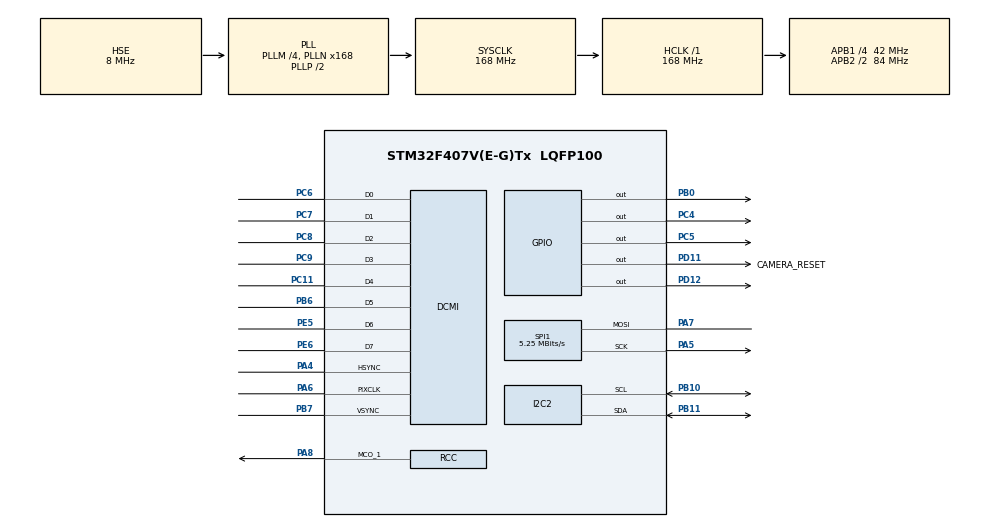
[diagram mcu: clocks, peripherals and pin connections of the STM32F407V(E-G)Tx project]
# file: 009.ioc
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DCMI.PCKPolarity=DCMI_PCKPOLARITY_RISING
DCMI.VSPolarity=DCMI_VSPOLARITY_HIGH
Dma.DCMI.0.Direction=DMA_PERIPH_TO_MEMORY
Dma.DCMI.0.FIFOMode=DMA_FIFOMODE_DISABLE
Dma.DCMI.0.Instance=DMA2_Stream1
Dma.DCMI.0.MemDataAlignment=DMA_MDATAALIGN_WORD
Dma.DCMI.0.MemInc=DMA_MINC_ENABLE
Dma.DCMI.0.Mode=DMA_NORMAL
Dma.DCMI.0.PeriphDataAlignment=DMA_PDATAALIGN_WORD
Dma.DCMI.0.PeriphInc=DMA_PINC_DISABLE
Dma.DCMI.0.Priority=DMA_PRIORITY_LOW
Dma.Request0=DCMI
Mcu.Family=STM32F4
Mcu.Name=STM32F407V(E-G)Tx
Mcu.Package=LQFP100
NVIC.DCMI_IRQn=true\:0\:0\:false\:false\:true\:true\:true\:true
NVIC.DMA2_Stream1_IRQn=true\:0\:0\:false\:false\:true\:false\:true\:true
NVIC.PriorityGroup=NVIC_PRIORITYGROUP_0
PA13.Mode=Serial_Wire
PA13.Signal=SYS_JTMS-SWDIO
PA14.Mode=Serial_Wire
PA14.Signal=SYS_JTCK-SWCLK
PA4.GPIO_PuPd=GPIO_PULLDOWN
PA4.GPIO_Speed=GPIO_SPEED_FREQ_VERY_HIGH
PA4.Mode=Slave_8_bits_External_Synchro
PA4.Signal=DCMI_HSYNC
PA5.Mode=Simplex_Bidirectional_Master
PA5.Signal=SPI1_SCK
PA6.GPIO_PuPd=GPIO_PULLDOWN
PA6.GPIO_Speed=GPIO_SPEED_FREQ_VERY_HIGH
PA6.Mode=Slave_8_bits_External_Synchro
PA6.Signal=DCMI_PIXCLK
PA7.Mode=Simplex_Bidirectional_Master
PA7.Signal=SPI1_MOSI
PA8.GPIO_Speed=GPIO_SPEED_FREQ_VERY_HIGH
PA8.Mode=Clock-out-1
PA8.Signal=RCC_MCO_1
PB0.Signal=GPIO_Output
PB10.GPIO_Pu=GPIO_PULLUP
PB10.Mode=I2C
PB10.Signal=I2C2_SCL
PB11.GPIO_Pu=GPIO_PULLUP
PB11.Mode=I2C
PB11.Signal=I2C2_SDA
PB6.GPIO_PuPd=GPIO_PULLDOWN
PB6.GPIO_Speed=GPIO_SPEED_FREQ_VERY_HIGH
PB6.Mode=Slave_8_bits_External_Synchro
PB6.Signal=DCMI_D5
PB7.GPIO_PuPd=GPIO_PULLDOWN
PB7.GPIO_Speed=GPIO_SPEED_FREQ_VERY_HIGH
PB7.Mode=Slave_8_bits_External_Synchro
PB7.Signal=DCMI_VSYNC
PC11.GPIO_PuPd=GPIO_PULLDOWN
PC11.GPIO_Speed=GPIO_SPEED_FREQ_VERY_HIGH
PC11.Mode=Slave_8_bits_External_Synchro
PC11.Signal=DCMI_D4
PC4.Signal=GPIO_Output
PC5.Signal=GPIO_Output
PC6.GPIO_PuPd=GPIO_PULLDOWN
PC6.GPIO_Speed=GPIO_SPEED_FREQ_VERY_HIGH
PC6.Mode=Slave_8_bits_External_Synchro
PC6.Signal=DCMI_D0
PC7.GPIO_PuPd=GPIO_PULLDOWN
PC7.GPIO_Speed=GPIO_SPEED_FREQ_VERY_HIGH
PC7.Mode=Slave_8_bits_External_Synchro
PC7.Signal=DCMI_D1
PC8.GPIO_PuPd=GPIO_PULLDOWN
PC8.GPIO_Speed=GPIO_SPEED_FREQ_VERY_HIGH
PC8.Mode=Slave_8_bits_External_Synchro
PC8.Signal=DCMI_D2
PC9.GPIO_PuPd=GPIO_PULLDOWN
PC9.GPIO_Speed=GPIO_SPEED_FREQ_VERY_HIGH
PC9.Mode=Slave_8_bits_External_Synchro
PC9.Signal=DCMI_D3
PD11.GPIO_Label=CAMERA_RESET
PD11.Signal=GPIO_Output
PD12.Signal=GPIO_Output
PE5.GPIO_PuPd=GPIO_PULLDOWN
PE5.GPIO_Speed=GPIO_SPEED_FREQ_VERY_HIGH
PE5.Mode=Slave_8_bits_External_Synchro
PE5.Signal=DCMI_D6
PE6.GPIO_PuPd=GPIO_PULLDOWN
PE6.GPIO_Speed=GPIO_SPEED_FREQ_VERY_HIGH
PE6.Mode=Slave_8_bits_External_Synchro
PE6.Signal=DCMI_D7
PH0-OSC_IN.Mode=HSE-External-Oscillator
PH0-OSC_IN.Signal=RCC_OSC_IN
PH1-OSC_OUT.Mode=HSE-External-Oscillator
PH1-OSC_OUT.Signal=RCC_OSC_OUT
ProjectManager.HeapSize=0x200
ProjectManager.StackSize=0x400
ProjectManager.TargetToolchain=STM32CubeIDE
RCC.48MHZClocksFreq_Value=48000000
RCC.AHBFreq_Value=168000000
RCC.APB1CLKDivider=RCC_HCLK_DIV4
RCC.APB1Freq_Value=42000000
RCC.APB1TimFreq_Value=84000000
RCC.APB2CLKDivider=RCC_HCLK_DIV2
RCC.APB2Freq_Value=84000000
RCC.APB2TimFreq_Value=168000000
RCC.CortexFreq_Value=168000000
RCC.HCLKFreq_Value=168000000
RCC.HSE_VALUE=8000000
RCC.HSI_VALUE=16000000
RCC.LSE_VALUE=32768
RCC.PLLM=4
RCC.PLLN=168
RCC.PLLQ=7
RCC.PLLSourceVirtual=RCC_PLLSOURCE_HSE
RCC.RCC_MCO1Source=RCC_MCO1SOURCE_HSE
RCC.SYSCLKFreq_VALUE=168000000
RCC.SYSCLKSource=RCC_SYSCLKSOURCE_PLLCLK
RCC.VCOOutputFreq_Value=336000000
SPI1.BaudRatePrescaler=SPI_BAUDRATEPRESCALER_16
SPI1.CalculateBaudRate=5.25 MBits/s
SPI1.Direction=SPI_DIRECTION_1LINE
SPI1.Mode=SPI_MODE_MASTER
SPI1.VirtualType=VM_MASTER
board=STM32F407G-DISC1

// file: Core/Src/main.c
/* USER CODE BEGIN Header */
/**
  ******************************************************************************
  * @file           : main.c
  * @brief          : Main program body
  ******************************************************************************
  * @attention
  *
  * Copyright (c) 2025 STMicroelectronics.
  * All rights reserved.
  *
  * This software is licensed under terms that can be found in the LICENSE file
  * in the root directory of this software component.
  * If no LICENSE file comes with this software, it is provided AS-IS.
  *
  ******************************************************************************
  */
/* USER CODE END Header */
#include "main.h"

/* USER CODE BEGIN Includes */
#include "prework.h"
/* USER CODE END Includes */

DCMI_HandleTypeDef hdcmi;
DMA_HandleTypeDef hdma_dcmi;

I2C_HandleTypeDef hi2c2;

SPI_HandleTypeDef hspi1;

/* USER CODE BEGIN PV */
#define MAX_PICTURE_BUFF     19200
uint16_t pBuffer[MAX_PICTURE_BUFF];

// Use a union to share memory between imageTFT and inputNN
typedef union {
    uint8_t imageTFT[120][160][3];   // RGB888 buffer for image processing
    uint8_t inputNN[32][32][3];      // Neural network input buffer (much smaller)
    uint8_t dummy[57600];            // Ensure correct size allocation
} ImageBuffer;

ImageBuffer imageBuffer;  // Shared memory for image processing

// Results display buffer
char resultText[32];  // Buffer for result text
uint32_t inferenceStartTime;  // For measuring inference time
/* USER CODE END PV */

void SystemClock_Config(void);
static void MX_GPIO_Init(void);
static void MX_DMA_Init(void);
static void MX_DCMI_Init(void);
static void MX_I2C2_Init(void);
static void MX_SPI1_Init(void);
/* USER CODE BEGIN PFP */
void extractRGBFromBuffer(void);
void resizeImageForNN_FixedPoint(void);
/* USER CODE END PFP */

/* USER CODE BEGIN 0 */
// Extract RGB values from pBuffer into imageBuffer.imageTFT
void extractRGBFromBuffer(void)
{
  uint16_t pixel;
  uint8_t r, g, b;
  int buffer_index = 0;

  for(int x = 0; x < 120; x++) // height
  {
    for(int y = 159; y >= 0; y--) // width (inverted as in original code)
    {
      pixel = pBuffer[buffer_index++];

      // Extract RGB components from RGB565 format
      // RGB565: RRRRRGGGGGGBBBBB
      r = (pixel >> 11) & 0x1F;  // Extract 5 bits for red
      g = (pixel >> 5) & 0x3F;   // Extract 6 bits for green
      b = pixel & 0x1F;          // Extract 5 bits for blue

      // Convert to 8-bit per channel (scale to 0-255)
      imageBuffer.imageTFT[x][y][0] = (r * 255) / 31;  // R (5 bits -> 8 bits)
      imageBuffer.imageTFT[x][y][1] = (g * 255) / 63;  // G (6 bits -> 8 bits)
      imageBuffer.imageTFT[x][y][2] = (b * 255) / 31;  // B (5 bits -> 8 bits)
    }
  }
}

// Modified to directly create inputNN in the shared buffer
void resizeImageForNN_FixedPoint(void)
{
  // Use fixed point with 8 bits of fractional precision
  const int PRECISION = 8;
  const int SCALE_FACTOR = 1 << PRECISION; // 256

  // Calculate scaling ratios in fixed point
  const int scale_x = (120 << PRECISION) / 32; // 120 * 256 / 32
  const int scale_y = (160 << PRECISION) / 32; // 160 * 256 / 32

  // Temporary buffer for the resized image
  // We need this because we're overwriting the source as we process
  uint8_t tempNN[32][32][3];

  for(int i = 0; i < 32; i++)
  {
    int src_x_fixed = i * scale_x;
    int src_x = src_x_fixed >> PRECISION; // Integer part
    int x1 = src_x;
    int x2 = (x1 + 1 < 120) ? (x1 + 1) : 119;
    int dx = src_x_fixed & (SCALE_FACTOR - 1); // Fractional part

    for(int j = 0; j < 32; j++)
    {
      int src_y_fixed = j * scale_y;
      int src_y = src_y_fixed >> PRECISION; // Integer part
      int y1 = src_y;
      int y2 = (y1 + 1 < 160) ? (y1 + 1) : 159;
      int dy = src_y_fixed & (SCALE_FACTOR - 1); // Fractional part

      // Bilinear interpolation for each color channel
      for(int c = 0; c < 3; c++)
      {
        int top = (imageBuffer.imageTFT[x1][y1][c] * (SCALE_FACTOR - dx) +
                  imageBuffer.imageTFT[x2][y1][c] * dx) >> PRECISION;
        int bottom = (imageBuffer.imageTFT[x1][y2][c] * (SCALE_FACTOR - dx) +
                     imageBuffer.imageTFT[x2][y2][c] * dx) >> PRECISION;
        int pixel = (top * (SCALE_FACTOR - dy) + bottom * dy) >> PRECISION;

        // Store in temporary buffer
        tempNN[i][j][c] = (uint8_t)pixel;
      }
    }
  }

  // Copy from temporary buffer to inputNN
  for(int i = 0; i < 32; i++) {
    for(int j = 0; j < 32; j++) {
      for(int c = 0; c < 3; c++) {
        imageBuffer.inputNN[i][j][c] = tempNN[i][j][c];
      }
    }
  }
}
/* USER CODE END 0 */

int main(void)
{

  /* MCU Configuration--------------------------------------------------------*/

  /* Reset of all peripherals, Initializes the Flash interface and the Systick. */
  HAL_Init();

  /* Configure the system clock */
  SystemClock_Config();

  /* Initialize all configured peripherals */
  MX_GPIO_Init();
  MX_DMA_Init();
  MX_DCMI_Init();
  MX_I2C2_Init();
  MX_SPI1_Init();
  /* USER CODE BEGIN 2 */
  ST7735_Init();
  ST7735_FillScreen(ST7735_BLACK);

  // Initialize I2C LCD
  // Display initialization message
  ST7735_FillRectangle(0, 0, 128, 20, ST7735_BLUE);
  drawString(10, 5, "CIFAR-10 Camera", ST7735_WHITE, ST7735_BLUE);
  drawString(10, 30, "Initializing...", ST7735_WHITE, ST7735_BLACK);

  // Test the display
  HAL_Delay(1000);
  HAL_GPIO_WritePin(GPIOD, GPIO_PIN_12, GPIO_PIN_RESET); //Camera PWDN to GND
  ov7670_init(&hdcmi, &hdma_dcmi, &hi2c2);
  ov7670_config(OV7670_MODE_QVGA_RGB565);
  ov7670_stopCap();

  ST7735_FillScreen(ST7735_BLACK);
  /* USER CODE END 2 */

  /* Infinite loop */
  /* USER CODE BEGIN WHILE */
  while (1)
  {
	    // Show "Processing..." indicator
	    drawTextBackground(0, 0, 128, 20, ST7735_BLUE);
	    drawString(5, 5, "Processing...", ST7735_WHITE, ST7735_BLUE);

	    // Start measuring inference time
	    inferenceStartTime = HAL_GetTick();

	  	  	HAL_DCMI_Start_DMA(&hdcmi, DCMI_MODE_SNAPSHOT, (uint32_t)pBuffer, MAX_PICTURE_BUFF/2);
	  	    HAL_Delay(100);  //Wait for DMA to complete
	  	    // picture pBuffer size 120*160=19200 is now available, we can transmit
	  	    // or display in lcd as shown below

	  	    // Extract RGB values from pBuffer
	  	    extractRGBFromBuffer();

	  	    int pixel = 0;
	  	    for( int x = 0; x < 120; x++ )
	  	    {
	  	      for( int y = 159; y > -1; y-- )
	  	      {
	  	        ST7735_DrawPixel(x, y, pBuffer[pixel]);
	  	        pixel++;
	  	      }
	  	    }

	  	    // Resize to 32x32 for neural network input
	  	    resizeImageForNN_FixedPoint();

	  	    // Run neural network inference - note we're using imageBuffer.inputNN now
	  	    float confidence;
	  	    int predicted_class = cifar10_classify(imageBuffer.inputNN, &confidence);

	  	    // Calculate inference time
	  	    uint32_t inferenceTime = HAL_GetTick() - inferenceStartTime;

	  	    // Create overlay for results display
	  	    drawTextBackground(0, 0, 128, 40, ST7735_BLUE);

	  	    // Display class name
	  	    drawString(5, 5, cifar10_class_names[predicted_class], ST7735_WHITE, ST7735_BLUE);

	  	    // Display confidence
	  	    char conf_str[10];
	  	    int confidence_percent = (int)(confidence * 100.0f);
	  	    int_to_string(confidence_percent, conf_str, 2);
	  	    drawString(80, 5, conf_str, ST7735_WHITE, ST7735_BLUE);
	  	    drawString(95, 5, "%", ST7735_WHITE, ST7735_BLUE);

	  	    // Display inference time
	  	    char time_str[10];
	  	    int_to_string(inferenceTime, time_str, 4);
	  	    drawString(5, 20, "Time:", ST7735_WHITE, ST7735_BLUE);
	  	    drawString(60, 20, time_str, ST7735_WHITE, ST7735_BLUE);
	  	    drawString(95, 20, "ms", ST7735_WHITE, ST7735_BLUE);

	  	    HAL_Delay(500); // Small delay between captures
    /* USER CODE END WHILE */
  }
}

void SystemClock_Config(void)
{
  RCC_OscInitTypeDef RCC_OscInitStruct = {0};
  RCC_ClkInitTypeDef RCC_ClkInitStruct = {0};

  /** Configure the main internal regulator output voltage
  */
  __HAL_RCC_PWR_CLK_ENABLE();
  __HAL_PWR_VOLTAGESCALING_CONFIG(PWR_REGULATOR_VOLTAGE_SCALE1);

  /** Initializes the RCC Oscillators according to the specified parameters
  * in the RCC_OscInitTypeDef structure.
  */
  RCC_OscInitStruct.OscillatorType = RCC_OSCILLATORTYPE_HSE;
  RCC_OscInitStruct.HSEState = RCC_HSE_ON;
  RCC_OscInitStruct.PLL.PLLState = RCC_PLL_ON;
  RCC_OscInitStruct.PLL.PLLSource = RCC_PLLSOURCE_HSE;
  RCC_OscInitStruct.PLL.PLLM = 4;
  RCC_OscInitStruct.PLL.PLLN = 168;
  RCC_OscInitStruct.PLL.PLLP = RCC_PLLP_DIV2;
  RCC_OscInitStruct.PLL.PLLQ = 7;
  if (HAL_RCC_OscConfig(&RCC_OscInitStruct) != HAL_OK)
  {
    Error_Handler();
  }

  /** Initializes the CPU, AHB and APB buses clocks
  */
  RCC_ClkInitStruct.ClockType = RCC_CLOCKTYPE_HCLK|RCC_CLOCKTYPE_SYSCLK
                              |RCC_CLOCKTYPE_PCLK1|RCC_CLOCKTYPE_PCLK2;
  RCC_ClkInitStruct.SYSCLKSource = RCC_SYSCLKSOURCE_PLLCLK;
  RCC_ClkInitStruct.AHBCLKDivider = RCC_SYSCLK_DIV1;
  RCC_ClkInitStruct.APB1CLKDivider = RCC_HCLK_DIV4;
  RCC_ClkInitStruct.APB2CLKDivider = RCC_HCLK_DIV2;

  if (HAL_RCC_ClockConfig(&RCC_ClkInitStruct, FLASH_LATENCY_5) != HAL_OK)
  {
    Error_Handler();
  }
  HAL_RCC_MCOConfig(RCC_MCO1, RCC_MCO1SOURCE_HSE, RCC_MCODIV_1);
}

static void MX_DCMI_Init(void)
{

  hdcmi.Instance = DCMI;
  hdcmi.Init.SynchroMode = DCMI_SYNCHRO_HARDWARE;
  hdcmi.Init.PCKPolarity = DCMI_PCKPOLARITY_RISING;
  hdcmi.Init.VSPolarity = DCMI_VSPOLARITY_HIGH;
  hdcmi.Init.HSPolarity = DCMI_HSPOLARITY_LOW;
  hdcmi.Init.CaptureRate = DCMI_CR_ALL_FRAME;
  hdcmi.Init.ExtendedDataMode = DCMI_EXTEND_DATA_8B;
  hdcmi.Init.JPEGMode = DCMI_JPEG_DISABLE;
  if (HAL_DCMI_Init(&hdcmi) != HAL_OK)
  {
    Error_Handler();
  }

}

static void MX_I2C2_Init(void)
{

  hi2c2.Instance = I2C2;
  hi2c2.Init.ClockSpeed = 100000;
  hi2c2.Init.DutyCycle = I2C_DUTYCYCLE_2;
  hi2c2.Init.OwnAddress1 = 0;
  hi2c2.Init.AddressingMode = I2C_ADDRESSINGMODE_7BIT;
  hi2c2.Init.DualAddressMode = I2C_DUALADDRESS_DISABLE;
  hi2c2.Init.OwnAddress2 = 0;
  hi2c2.Init.GeneralCallMode = I2C_GENERALCALL_DISABLE;
  hi2c2.Init.NoStretchMode = I2C_NOSTRETCH_DISABLE;
  if (HAL_I2C_Init(&hi2c2) != HAL_OK)
  {
    Error_Handler();
  }

}

static void MX_SPI1_Init(void)
{

  /* SPI1 parameter configuration*/
  hspi1.Instance = SPI1;
  hspi1.Init.Mode = SPI_MODE_MASTER;
  hspi1.Init.Direction = SPI_DIRECTION_1LINE;
  hspi1.Init.DataSize = SPI_DATASIZE_8BIT;
  hspi1.Init.CLKPolarity = SPI_POLARITY_LOW;
  hspi1.Init.CLKPhase = SPI_PHASE_1EDGE;
  hspi1.Init.NSS = SPI_NSS_SOFT;
  hspi1.Init.BaudRatePrescaler = SPI_BAUDRATEPRESCALER_16;
  hspi1.Init.FirstBit = SPI_FIRSTBIT_MSB;
  hspi1.Init.TIMode = SPI_TIMODE_DISABLE;
  hspi1.Init.CRCCalculation = SPI_CRCCALCULATION_DISABLE;
  hspi1.Init.CRCPolynomial = 10;
  if (HAL_SPI_Init(&hspi1) != HAL_OK)
  {
    Error_Handler();
  }

}

static void MX_DMA_Init(void)
{

  /* DMA controller clock enable */
  __HAL_RCC_DMA2_CLK_ENABLE();

  /* DMA interrupt init */
  /* DMA2_Stream1_IRQn interrupt configuration */
  HAL_NVIC_SetPriority(DMA2_Stream1_IRQn, 0, 0);
  HAL_NVIC_EnableIRQ(DMA2_Stream1_IRQn);

}

static void MX_GPIO_Init(void)
{
  GPIO_InitTypeDef GPIO_InitStruct = {0};

  /* GPIO Ports Clock Enable */
  __HAL_RCC_GPIOE_CLK_ENABLE();
  __HAL_RCC_GPIOH_CLK_ENABLE();
  __HAL_RCC_GPIOA_CLK_ENABLE();
  __HAL_RCC_GPIOC_CLK_ENABLE();
  __HAL_RCC_GPIOB_CLK_ENABLE();
  __HAL_RCC_GPIOD_CLK_ENABLE();

  /*Configure GPIO pin Output Level */
  HAL_GPIO_WritePin(GPIOC, GPIO_PIN_4|GPIO_PIN_5, GPIO_PIN_RESET);

  /*Configure GPIO pin Output Level */
  HAL_GPIO_WritePin(GPIOB, GPIO_PIN_0, GPIO_PIN_RESET);

  /*Configure GPIO pin Output Level */
  HAL_GPIO_WritePin(GPIOD, CAMERA_RESET_Pin|GPIO_PIN_12, GPIO_PIN_RESET);

  /*Configure GPIO pins : PC4 PC5 */
  GPIO_InitStruct.Pin = GPIO_PIN_4|GPIO_PIN_5;
  GPIO_InitStruct.Mode = GPIO_MODE_OUTPUT_PP;
  GPIO_InitStruct.Pull = GPIO_NOPULL;
  GPIO_InitStruct.Speed = GPIO_SPEED_FREQ_LOW;
  HAL_GPIO_Init(GPIOC, &GPIO_InitStruct);

  /*Configure GPIO pin : PB0 */
  GPIO_InitStruct.Pin = GPIO_PIN_0;
  GPIO_InitStruct.Mode = GPIO_MODE_OUTPUT_PP;
  GPIO_InitStruct.Pull = GPIO_NOPULL;
  GPIO_InitStruct.Speed = GPIO_SPEED_FREQ_LOW;
  HAL_GPIO_Init(GPIOB, &GPIO_InitStruct);

  /*Configure GPIO pins : CAMERA_RESET_Pin PD12 */
  GPIO_InitStruct.Pin = CAMERA_RESET_Pin|GPIO_PIN_12;
  GPIO_InitStruct.Mode = GPIO_MODE_OUTPUT_PP;
  GPIO_InitStruct.Pull = GPIO_NOPULL;
  GPIO_InitStruct.Speed = GPIO_SPEED_FREQ_LOW;
  HAL_GPIO_Init(GPIOD, &GPIO_InitStruct);

  /*Configure GPIO pin : PA8 */
  GPIO_InitStruct.Pin = GPIO_PIN_8;
  GPIO_InitStruct.Mode = GPIO_MODE_AF_PP;
  GPIO_InitStruct.Pull = GPIO_NOPULL;
  GPIO_InitStruct.Speed = GPIO_SPEED_FREQ_VERY_HIGH;
  GPIO_InitStruct.Alternate = GPIO_AF0_MCO;
  HAL_GPIO_Init(GPIOA, &GPIO_InitStruct);

}

void Error_Handler(void)
{
  __disable_irq();
  while (1)
  {
  }
}
